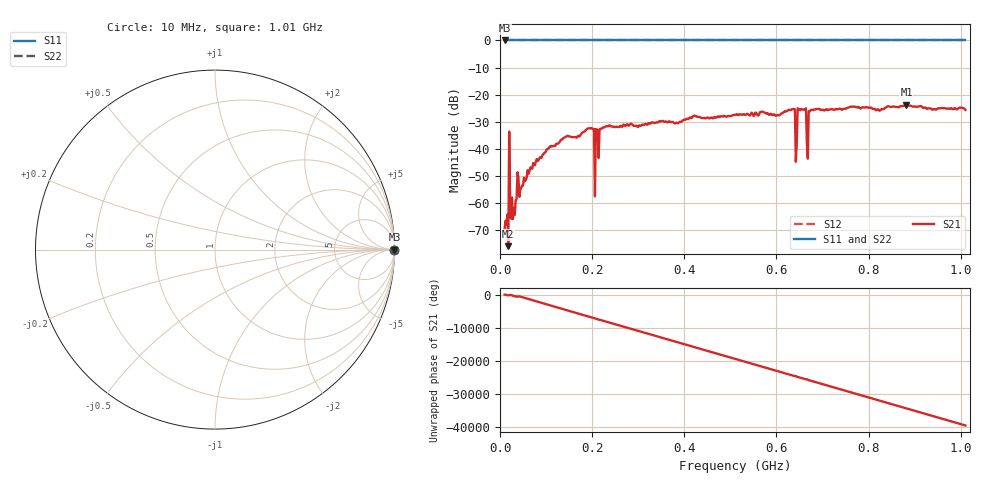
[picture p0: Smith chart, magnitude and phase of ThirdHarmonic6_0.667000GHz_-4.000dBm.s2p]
! 8/15/2025 10:10:56 PM
! C:\ANRITSUVNA\TEMP\TEMP.S2P
! CHANNEL.1
! TR.MEASUREMENT
! RAW.DATA
! RF.CORRECTION.OFF
! AVERAGING.OFF
! IF.BANDWIDTH: 5KHZ
! SWEEPTYPE:  FREQ.SWEEP(Linear)
! Reference Plane Port Info
! PORT:  PORT1  PORT2
! DISTANCE:  0  m  0  m
! TIME:  0  s  0  s
! PHASE.OFFSET:  0  deg.  0  deg.
! LOSS:  0  dB  0  dB
! REF.LOSS:  0  dB  0  dB
! REF.FREQ:  0  Hz  0  Hz
! Power Info
! POWER:  -20  dBm  -20  dBm
! EFF.POWER:  -20  dBm  -20  dBm
! SOURCE.ATTEN:  0  dB  0  dB
! TEST.ATTEN:  0  dB  0  dB
# GHZ S RI R 50.0
! FREQ.GHZ  S11RE  S11IM  S21RE  S21IM  S12RE  S12IM  S22RE  S22IM
!; PortSelection: Port_12
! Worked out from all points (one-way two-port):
!   501 points, 10 MHz to 1.01 GHz, reference 50 ohm
!   highest |S21| = -23.72 dB at 882 MHz (marker M1); lowest = -75.9 dB at 18 MHz (marker M2)
!   lowest |S11| = 0.0 dB at 10 MHz (marker M3)
!   |S11| at or under -10 dB: nowhere
!   |S22| runs from 0.0 to 0.0 dB; largest |S21 - S12| = 1.1
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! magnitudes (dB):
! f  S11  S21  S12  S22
! 10 MHz  0.0  -69.4  0.0  0.0
! 14 MHz  0.0  -67.9  0.0  0.0
! 18 MHz  0.0  -75.9  0.0  0.0
! 24 MHz  0.0  -65.8  0.0  0.0
! 28 MHz  0.0  -65.9  0.0  0.0
! 42 MHz  0.0  -57.7  0.0  0.0
! 104 MHz  0.0  -39.9  0.0  0.0
! 178 MHz  0.0  -34.1  0.0  0.0
! 200 MHz  0.0  -32.5  0.0  0.0
! 210 MHz  0.0  -32.8  0.0  0.0
! 226 MHz  0.0  -32.1  0.0  0.0
! 344 MHz  0.0  -30.2  0.0  0.0
! 510 MHz  0.0  -27.5  0.0  0.0
! 636 MHz  0.0  -25.3  0.0  0.0
! 646 MHz  0.0  -25.0  0.0  0.0
! 650 MHz  0.0  -25.5  0.0  0.0
! 660 MHz  0.0  -25.5  0.0  0.0
! 670 MHz  0.0  -26.1  0.0  0.0
! 678 MHz  0.0  -25.6  0.0  0.0
! 844 MHz  0.0  -24.3  0.0  0.0
! 882 MHz  0.0  -23.7  0.0  0.0
! 1.01 GHz  0.0  -25.6  0.0  0.0
